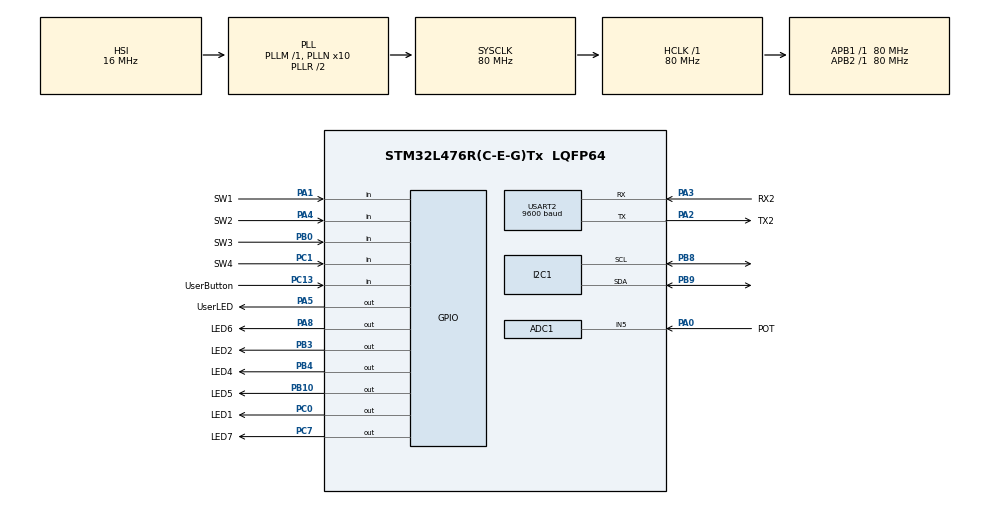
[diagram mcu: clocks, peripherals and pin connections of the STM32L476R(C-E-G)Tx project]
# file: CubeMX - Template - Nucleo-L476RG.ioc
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ADC1.Channel-0\#ChannelRegularConversion=ADC_CHANNEL_5
ADC1.NbrOfConversionFlag=1
ADC1.OffsetNumber-0\#ChannelRegularConversion=ADC_OFFSET_NONE
ADC1.Overrun=ADC_OVR_DATA_OVERWRITTEN
ADC1.Rank-0\#ChannelRegularConversion=1
ADC1.Resolution=ADC_RESOLUTION_12B
ADC1.SamplingTime-0\#ChannelRegularConversion=ADC_SAMPLETIME_2CYCLES_5
ADC1.master=1
I2C1.Timing=0x10909CEC
Mcu.Family=STM32L4
Mcu.Name=STM32L476R(C-E-G)Tx
Mcu.Package=LQFP64
NVIC.PriorityGroup=NVIC_PRIORITYGROUP_4
PA0.GPIO_Label=POT
PA0.Signal=ADCx_IN5
PA1.GPIO_Label=SW1
PA1.Signal=GPIO_Input
PA13\ (JTMS-SWDIO).GPIO_Label=TMS
PA13\ (JTMS-SWDIO).Mode=Serial_Wire
PA13\ (JTMS-SWDIO).Signal=SYS_JTMS-SWDIO
PA14\ (JTCK-SWCLK).GPIO_Label=TCK
PA14\ (JTCK-SWCLK).Mode=Serial_Wire
PA14\ (JTCK-SWCLK).Signal=SYS_JTCK-SWCLK
PA2.GPIO_Label=TX2
PA2.GPIO_Mode=GPIO_MODE_AF_PP
PA2.GPIO_PuPd=GPIO_NOPULL
PA2.GPIO_Speed=GPIO_SPEED_FREQ_VERY_HIGH
PA2.Mode=Asynchronous
PA2.Signal=USART2_TX
PA3.GPIO_Label=RX2
PA3.GPIO_Mode=GPIO_MODE_AF_PP
PA3.GPIO_PuPd=GPIO_NOPULL
PA3.GPIO_Speed=GPIO_SPEED_FREQ_VERY_HIGH
PA3.Mode=Asynchronous
PA3.Signal=USART2_RX
PA4.GPIO_Label=SW2
PA4.Signal=GPIO_Input
PA5.GPIO_Label=UserLED
PA5.GPIO_ModeDefaultOutputPP=GPIO_MODE_OUTPUT_PP
PA5.GPIO_PuPd=GPIO_NOPULL
PA5.GPIO_Speed=GPIO_SPEED_FREQ_LOW
PA5.Signal=GPIO_Output
PA8.GPIO_Label=LED6
PA8.Signal=GPIO_Output
PB0.GPIO_Label=SW3
PB0.Signal=GPIO_Input
PB10.GPIO_Label=LED5
PB10.Signal=GPIO_Output
PB3\ (JTDO-TRACESWO).GPIO_Label=LED2
PB3\ (JTDO-TRACESWO).Signal=GPIO_Output
PB4\ (NJTRST).GPIO_Label=LED4
PB4\ (NJTRST).Signal=GPIO_Output
PB8.GPIO_Pu=GPIO_PULLUP
PB8.Mode=I2C
PB8.Signal=I2C1_SCL
PB9.GPIO_Pu=GPIO_PULLUP
PB9.Mode=I2C
PB9.Signal=I2C1_SDA
PC0.GPIO_Label=LED1
PC0.Signal=GPIO_Output
PC1.GPIO_Label=SW4
PC1.Signal=GPIO_Input
PC13.GPIO_Label=UserButton
PC13.Signal=GPIO_Input
PC7.GPIO_Label=LED7
PC7.Signal=GPIO_Output
ProjectManager.HeapSize=0x200
ProjectManager.StackSize=0x400
ProjectManager.TargetToolchain=MDK-ARM V5.32
RCC.ADCFreq_Value=64000000
RCC.AHBFreq_Value=80000000
RCC.APB1Freq_Value=80000000
RCC.APB1TimFreq_Value=80000000
RCC.APB2Freq_Value=80000000
RCC.APB2TimFreq_Value=80000000
RCC.CortexFreq_Value=80000000
RCC.HCLKFreq_Value=80000000
RCC.HSE_VALUE=8000000
RCC.HSI_VALUE=16000000
RCC.LSE_VALUE=32768
RCC.MSI_VALUE=4000000
RCC.PLLN=10
RCC.PLLSourceVirtual=RCC_PLLSOURCE_HSI
RCC.PREFETCH_ENABLE=1
RCC.SYSCLKFreq_VALUE=80000000
RCC.SYSCLKSource=RCC_SYSCLKSOURCE_PLLCLK
RCC.USBFreq_Value=64000000
RCC.VCOOutputFreq_Value=160000000
SH.ADCx_IN5.0=ADC1_IN5,IN5-Single-Ended
USART2.BaudRate=9600
USART2.OverrunDisableParam=ADVFEATURE_OVERRUN_DISABLE
USART2.VirtualMode-Asynchronous=VM_ASYNC
board=NUCLEO-L476RG

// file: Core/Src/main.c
/* USER CODE BEGIN Header */
/**
  ******************************************************************************
  * @file           : main.c
  * @brief          : Main program body
  ******************************************************************************
  * @attention
  *
  * Copyright (c) 2023 STMicroelectronics.
  * All rights reserved.
  *
  * This software is licensed under terms that can be found in the LICENSE file
  * in the root directory of this software component.
  * If no LICENSE file comes with this software, it is provided AS-IS.
  *
  ******************************************************************************
  */
/* USER CODE END Header */
#include "main.h"

/* USER CODE BEGIN Includes */
#include "leds.h"
#include "buttons.h"
#include "usart2.h"
#include "ad.h"
#include "stdio.h"
#include "string.h"
#include "stdlib.h"
#include "math.h"
#include "stm32l4xx_hal_i2c.h"
/* USER CODE END Includes */

/* USER CODE BEGIN PTD */
// Maak een struct die de toestand van het Nucleo Extension Shield bijhoudt.
// Die struct zou je later kunnen gebruiken om bijvoorbeeld in een C#-app
// real time de NES-status weer te geven...
typedef struct{
	uint8_t leds;
	uint8_t buttons;
	uint16_t adValue;
}NES;
/* USER CODE END PTD */

/* USER CODE BEGIN PD */
#define CONTROL_LOOP_TIME_MS 10
#define SENSOR_ADDRESS 0x28 // Adres van de vochtsensor
/* USER CODE END PD */

ADC_HandleTypeDef hadc1;

I2C_HandleTypeDef hi2c1;

UART_HandleTypeDef huart2;

/* USER CODE BEGIN PV */

enum Mscale {
  MFS_14BITS = 0, // 0.6 mG per LSB
  MFS_16BITS      // 0.15 mG per LSB
};

//bool calibrationOk = false;
uint8_t Mscale = MFS_16BITS; // Choose either 14-bit or 16-bit magnetometer resolution
uint8_t Mmode = 0x02;
const uint16_t i2c_timeoutB = 100;
/* USER CODE END PV */

void SystemClock_Config(void);
static void MX_GPIO_Init(void);
static void MX_ADC1_Init(void);
static void MX_USART2_UART_Init(void);
static void MX_I2C1_Init(void);

/* USER CODE BEGIN 0 */
/* Functie om gegevens te lezen van de vochtsensor */
HAL_StatusTypeDef readSensor(uint8_t* pData, uint16_t Size) {
    HAL_StatusTypeDef status;

		uint8_t dataSend = 0;

    status = HAL_I2C_Master_Transmit(&hi2c1, SENSOR_ADDRESS << 1, &dataSend, 0, 100);
//		printf("status = %d",status);
		HAL_Delay(100);
    status = HAL_I2C_Master_Receive(&hi2c1, SENSOR_ADDRESS << 1, pData, Size, 100);
//		printf("status = %d\n",status);
//		printf("Data 0 = %d",pData[0]);
//		printf("Data 1 = %d",pData[1]);
//		printf("Data 2 = %d",pData[2]);
//		printf("Data 3 = %d\n\r",pData[3]);
    return status;
}
/* USER CODE END 0 */

int main(void)
{
  /* USER CODE BEGIN 1 */
    uint8_t sensorData[4]; // Verwacht 4 bytes gegevens van de sensor (2 voor vochtigheid, 2 voor temperatuur)
    float humidity, temperature;
  /* USER CODE END 1 */

  /* MCU Configuration--------------------------------------------------------*/

  /* Reset of all peripherals, Initializes the Flash interface and the Systick. */
  HAL_Init();

  /* Configure the system clock */
  SystemClock_Config();

  /* Initialize all configured peripherals */
  MX_GPIO_Init();
  MX_ADC1_Init();
  MX_USART2_UART_Init();
  MX_I2C1_Init();
  /* USER CODE BEGIN 2 */
	printf ("Reboot \n\r");
  /* USER CODE END 2 */

  /* Infinite loop */
  /* USER CODE BEGIN WHILE */
  while (1)
  {
		HAL_Delay(1000); // Wacht 1 seconde voordat u opnieuw leest
        // Lees gegevens van de vochtsensor
        if (readSensor(sensorData, sizeof(sensorData)) == HAL_OK) {
            // Verwerk de gelezen gegevens
            humidity = ((float)((sensorData[0] << 8) | sensorData[1]) / 16384) * 100; // Bereken vochtigheid in procenten
            temperature = ((float)((sensorData[2] << 8) | sensorData[3]) / 65536) * 165 - 40; // Bereken temperatuur in graden Celsius
					  printf("Vochtigheid: %.2f\n\r", humidity);
            printf("Temperatuur: %.2f\n\r", temperature);
        } else {
            printf("Fout bij het lezen van de sensorgegevens\n\r");
        }
    /* USER CODE END WHILE */
  }
}

void SystemClock_Config(void)
{
  RCC_OscInitTypeDef RCC_OscInitStruct = {0};
  RCC_ClkInitTypeDef RCC_ClkInitStruct = {0};

  /** Configure the main internal regulator output voltage
  */
  if (HAL_PWREx_ControlVoltageScaling(PWR_REGULATOR_VOLTAGE_SCALE1) != HAL_OK)
  {
    Error_Handler();
  }

  /** Initializes the RCC Oscillators according to the specified parameters
  * in the RCC_OscInitTypeDef structure.
  */
  RCC_OscInitStruct.OscillatorType = RCC_OSCILLATORTYPE_HSI;
  RCC_OscInitStruct.HSIState = RCC_HSI_ON;
  RCC_OscInitStruct.HSICalibrationValue = RCC_HSICALIBRATION_DEFAULT;
  RCC_OscInitStruct.PLL.PLLState = RCC_PLL_ON;
  RCC_OscInitStruct.PLL.PLLSource = RCC_PLLSOURCE_HSI;
  RCC_OscInitStruct.PLL.PLLM = 1;
  RCC_OscInitStruct.PLL.PLLN = 10;
  RCC_OscInitStruct.PLL.PLLP = RCC_PLLP_DIV7;
  RCC_OscInitStruct.PLL.PLLQ = RCC_PLLQ_DIV2;
  RCC_OscInitStruct.PLL.PLLR = RCC_PLLR_DIV2;
  if (HAL_RCC_OscConfig(&RCC_OscInitStruct) != HAL_OK)
  {
    Error_Handler();
  }

  /** Initializes the CPU, AHB and APB buses clocks
  */
  RCC_ClkInitStruct.ClockType = RCC_CLOCKTYPE_HCLK|RCC_CLOCKTYPE_SYSCLK
                              |RCC_CLOCKTYPE_PCLK1|RCC_CLOCKTYPE_PCLK2;
  RCC_ClkInitStruct.SYSCLKSource = RCC_SYSCLKSOURCE_PLLCLK;
  RCC_ClkInitStruct.AHBCLKDivider = RCC_SYSCLK_DIV1;
  RCC_ClkInitStruct.APB1CLKDivider = RCC_HCLK_DIV1;
  RCC_ClkInitStruct.APB2CLKDivider = RCC_HCLK_DIV1;

  if (HAL_RCC_ClockConfig(&RCC_ClkInitStruct, FLASH_LATENCY_4) != HAL_OK)
  {
    Error_Handler();
  }
}

static void MX_ADC1_Init(void)
{

  ADC_MultiModeTypeDef multimode = {0};
  ADC_ChannelConfTypeDef sConfig = {0};

  /** Common config
  */
  hadc1.Instance = ADC1;
  hadc1.Init.ClockPrescaler = ADC_CLOCK_ASYNC_DIV1;
  hadc1.Init.Resolution = ADC_RESOLUTION_12B;
  hadc1.Init.DataAlign = ADC_DATAALIGN_RIGHT;
  hadc1.Init.ScanConvMode = ADC_SCAN_DISABLE;
  hadc1.Init.EOCSelection = ADC_EOC_SINGLE_CONV;
  hadc1.Init.LowPowerAutoWait = DISABLE;
  hadc1.Init.ContinuousConvMode = DISABLE;
  hadc1.Init.NbrOfConversion = 1;
  hadc1.Init.DiscontinuousConvMode = DISABLE;
  hadc1.Init.ExternalTrigConv = ADC_SOFTWARE_START;
  hadc1.Init.ExternalTrigConvEdge = ADC_EXTERNALTRIGCONVEDGE_NONE;
  hadc1.Init.DMAContinuousRequests = DISABLE;
  hadc1.Init.Overrun = ADC_OVR_DATA_OVERWRITTEN;
  hadc1.Init.OversamplingMode = DISABLE;
  if (HAL_ADC_Init(&hadc1) != HAL_OK)
  {
    Error_Handler();
  }

  /** Configure the ADC multi-mode
  */
  multimode.Mode = ADC_MODE_INDEPENDENT;
  if (HAL_ADCEx_MultiModeConfigChannel(&hadc1, &multimode) != HAL_OK)
  {
    Error_Handler();
  }

  /** Configure Regular Channel
  */
  sConfig.Channel = ADC_CHANNEL_5;
  sConfig.Rank = ADC_REGULAR_RANK_1;
  sConfig.SamplingTime = ADC_SAMPLETIME_2CYCLES_5;
  sConfig.SingleDiff = ADC_SINGLE_ENDED;
  sConfig.OffsetNumber = ADC_OFFSET_NONE;
  sConfig.Offset = 0;
  if (HAL_ADC_ConfigChannel(&hadc1, &sConfig) != HAL_OK)
  {
    Error_Handler();
  }

}

static void MX_I2C1_Init(void)
{

  hi2c1.Instance = I2C1;
  hi2c1.Init.Timing = 0x10909CEC;
  hi2c1.Init.OwnAddress1 = 0;
  hi2c1.Init.AddressingMode = I2C_ADDRESSINGMODE_7BIT;
  hi2c1.Init.DualAddressMode = I2C_DUALADDRESS_DISABLE;
  hi2c1.Init.OwnAddress2 = 0;
  hi2c1.Init.OwnAddress2Masks = I2C_OA2_NOMASK;
  hi2c1.Init.GeneralCallMode = I2C_GENERALCALL_DISABLE;
  hi2c1.Init.NoStretchMode = I2C_NOSTRETCH_DISABLE;
  if (HAL_I2C_Init(&hi2c1) != HAL_OK)
  {
    Error_Handler();
  }

  /** Configure Analogue filter
  */
  if (HAL_I2CEx_ConfigAnalogFilter(&hi2c1, I2C_ANALOGFILTER_ENABLE) != HAL_OK)
  {
    Error_Handler();
  }

  /** Configure Digital filter
  */
  if (HAL_I2CEx_ConfigDigitalFilter(&hi2c1, 0) != HAL_OK)
  {
    Error_Handler();
  }

}

static void MX_USART2_UART_Init(void)
{

  huart2.Instance = USART2;
  huart2.Init.BaudRate = 9600;
  huart2.Init.WordLength = UART_WORDLENGTH_8B;
  huart2.Init.StopBits = UART_STOPBITS_1;
  huart2.Init.Parity = UART_PARITY_NONE;
  huart2.Init.Mode = UART_MODE_TX_RX;
  huart2.Init.HwFlowCtl = UART_HWCONTROL_NONE;
  huart2.Init.OverSampling = UART_OVERSAMPLING_16;
  huart2.Init.OneBitSampling = UART_ONE_BIT_SAMPLE_DISABLE;
  huart2.AdvancedInit.AdvFeatureInit = UART_ADVFEATURE_RXOVERRUNDISABLE_INIT;
  huart2.AdvancedInit.OverrunDisable = UART_ADVFEATURE_OVERRUN_DISABLE;
  if (HAL_UART_Init(&huart2) != HAL_OK)
  {
    Error_Handler();
  }

}

static void MX_GPIO_Init(void)
{
  GPIO_InitTypeDef GPIO_InitStruct = {0};

  /* GPIO Ports Clock Enable */
  __HAL_RCC_GPIOC_CLK_ENABLE();
  __HAL_RCC_GPIOA_CLK_ENABLE();
  __HAL_RCC_GPIOB_CLK_ENABLE();

  /*Configure GPIO pin Output Level */
  HAL_GPIO_WritePin(GPIOC, LED1_Pin|LED7_Pin, GPIO_PIN_RESET);

  /*Configure GPIO pin Output Level */
  HAL_GPIO_WritePin(GPIOA, UserLED_Pin|LED6_Pin, GPIO_PIN_RESET);

  /*Configure GPIO pin Output Level */
  HAL_GPIO_WritePin(GPIOB, LED5_Pin|LED2_Pin|LED4_Pin, GPIO_PIN_RESET);

  /*Configure GPIO pins : UserButton_Pin SW4_Pin */
  GPIO_InitStruct.Pin = UserButton_Pin|SW4_Pin;
  GPIO_InitStruct.Mode = GPIO_MODE_INPUT;
  GPIO_InitStruct.Pull = GPIO_NOPULL;
  HAL_GPIO_Init(GPIOC, &GPIO_InitStruct);

  /*Configure GPIO pins : LED1_Pin LED7_Pin */
  GPIO_InitStruct.Pin = LED1_Pin|LED7_Pin;
  GPIO_InitStruct.Mode = GPIO_MODE_OUTPUT_PP;
  GPIO_InitStruct.Pull = GPIO_NOPULL;
  GPIO_InitStruct.Speed = GPIO_SPEED_FREQ_LOW;
  HAL_GPIO_Init(GPIOC, &GPIO_InitStruct);

  /*Configure GPIO pins : SW1_Pin SW2_Pin */
  GPIO_InitStruct.Pin = SW1_Pin|SW2_Pin;
  GPIO_InitStruct.Mode = GPIO_MODE_INPUT;
  GPIO_InitStruct.Pull = GPIO_NOPULL;
  HAL_GPIO_Init(GPIOA, &GPIO_InitStruct);

  /*Configure GPIO pins : UserLED_Pin LED6_Pin */
  GPIO_InitStruct.Pin = UserLED_Pin|LED6_Pin;
  GPIO_InitStruct.Mode = GPIO_MODE_OUTPUT_PP;
  GPIO_InitStruct.Pull = GPIO_NOPULL;
  GPIO_InitStruct.Speed = GPIO_SPEED_FREQ_LOW;
  HAL_GPIO_Init(GPIOA, &GPIO_InitStruct);

  /*Configure GPIO pin : SW3_Pin */
  GPIO_InitStruct.Pin = SW3_Pin;
  GPIO_InitStruct.Mode = GPIO_MODE_INPUT;
  GPIO_InitStruct.Pull = GPIO_NOPULL;
  HAL_GPIO_Init(SW3_GPIO_Port, &GPIO_InitStruct);

  /*Configure GPIO pins : LED5_Pin LED2_Pin LED4_Pin */
  GPIO_InitStruct.Pin = LED5_Pin|LED2_Pin|LED4_Pin;
  GPIO_InitStruct.Mode = GPIO_MODE_OUTPUT_PP;
  GPIO_InitStruct.Pull = GPIO_NOPULL;
  GPIO_InitStruct.Speed = GPIO_SPEED_FREQ_LOW;
  HAL_GPIO_Init(GPIOB, &GPIO_InitStruct);

}

void Error_Handler(void)
{
  __disable_irq();
  while (1)
  {
  }
}
